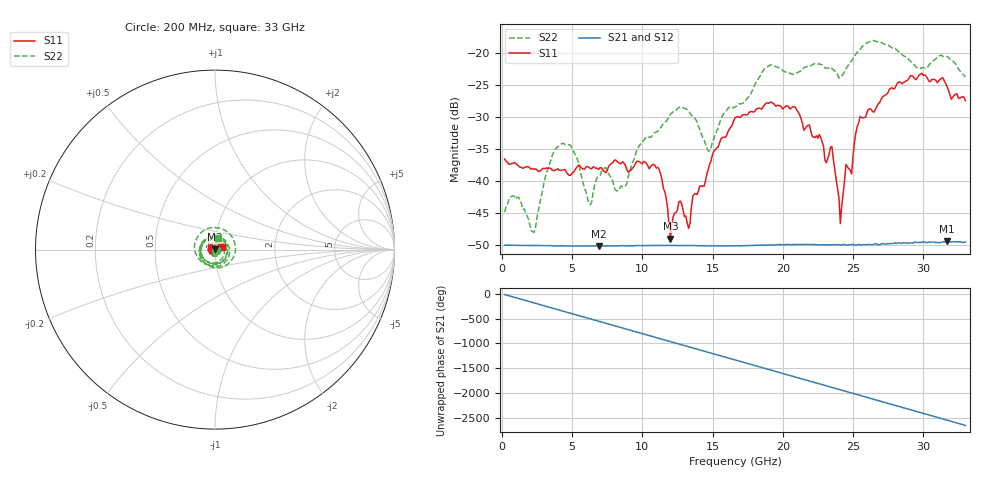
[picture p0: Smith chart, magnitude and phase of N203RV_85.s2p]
# GHZ S RI R 50
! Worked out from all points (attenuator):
!   329 points, 200 MHz to 33 GHz, reference 50 ohm
!   highest |S21| = -49.36 dB at 31.7 GHz (marker M1); lowest = -50.1 dB at 6.9 GHz (marker M2)
!   lowest |S11| = -48.9 dB at 12 GHz (marker M3), VSWR 1.01, Z = 49.7 + j0.224 ohm
!   |S11| at or under -10 dB: start of sweep to end of sweep
!   |S22| runs from -47.9 to -18.1 dB; largest |S21 - S12| = 7.3e-05
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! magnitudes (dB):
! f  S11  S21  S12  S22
! 200 MHz  -36.5  -50.0  -49.9  -44.8
! 1.2 GHz  -37.6  -50.0  -50.0  -42.5
! 2.3 GHz  -38.1  -50.0  -50.0  -47.9
! 4.2 GHz  -38.3  -50.1  -50.0  -34.2
! 5.7 GHz  -38.0  -50.1  -50.1  -39.5
! 6.3 GHz  -38.0  -50.1  -50.1  -43.6
! 6.9 GHz  -38.1  -50.1  -50.1  -39.3
! 8.8 GHz  -37.6  -50.1  -50.0  -40.7
! 11.2 GHz  -38.2  -50.0  -50.0  -32.0
! 12 GHz  -48.9  -50.0  -50.0  -29.6
! 14.7 GHz  -38.1  -50.0  -50.0  -35.3
! 16.6 GHz  -30.1  -50.0  -50.0  -28.4
! 20.8 GHz  -28.4  -49.8  -49.8  -23.4
! 22.1 GHz  -33.0  -49.9  -49.8  -21.9
! 23.5 GHz  -34.6  -49.9  -49.8  -22.4
! 24.1 GHz  -46.6  -50.0  -49.9  -23.9
! 24.5 GHz  -37.4  -49.9  -49.9  -22.5
! 24.9 GHz  -38.9  -49.8  -49.9  -21.3
! 25.5 GHz  -29.9  -49.9  -49.9  -19.5
! 27.6 GHz  -25.7  -49.7  -49.7  -19.0
! 31.7 GHz  -25.3  -49.4  -49.5  -20.6
! 33 GHz  -27.5  -49.4  -49.4  -23.8
